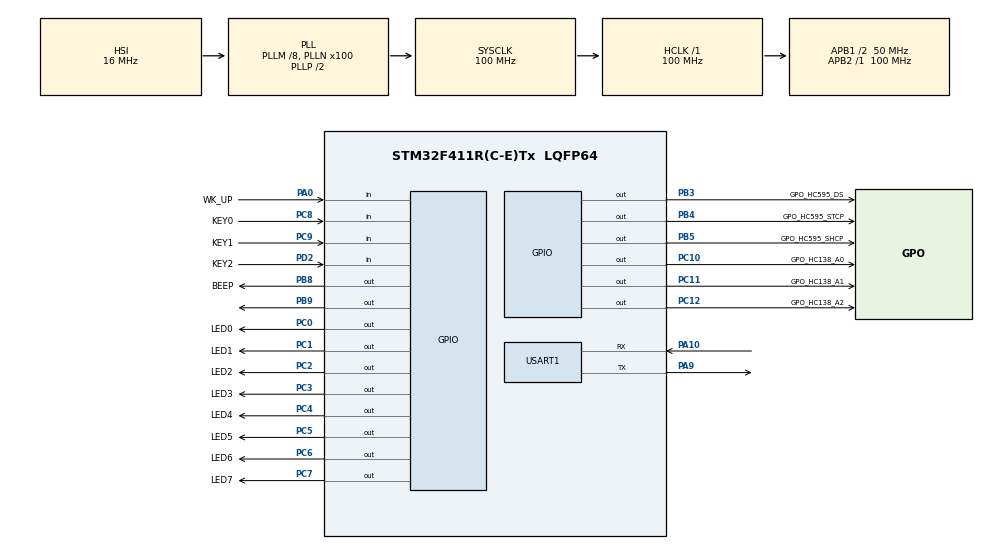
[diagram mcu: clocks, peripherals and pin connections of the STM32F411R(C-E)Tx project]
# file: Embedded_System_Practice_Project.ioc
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Mcu.Family=STM32F4
Mcu.Name=STM32F411R(C-E)Tx
Mcu.Package=LQFP64
NVIC.PriorityGroup=NVIC_PRIORITYGROUP_4
NVIC.TIM2_IRQn=true\:0\:0\:false\:false\:true\:true\:true
NVIC.TIM4_IRQn=true\:0\:0\:false\:false\:true\:true\:true
NVIC.USART1_IRQn=true\:0\:0\:false\:false\:true\:true\:true
PA0-WKUP.GPIO_Label=WK_UP
PA0-WKUP.GPIO_PuPd=GPIO_PULLDOWN
PA0-WKUP.Signal=GPIO_Input
PA10.Mode=Asynchronous
PA10.Signal=USART1_RX
PA13.Signal=SYS_JTMS-SWDIO
PA9.Mode=Asynchronous
PA9.Signal=USART1_TX
PB3.GPIO_Label=GPO_HC595_DS
PB3.PinState=GPIO_PIN_SET
PB3.Signal=GPIO_Output
PB4.GPIO_Label=GPO_HC595_STCP
PB4.PinState=GPIO_PIN_SET
PB4.Signal=GPIO_Output
PB5.GPIO_Label=GPO_HC595_SHCP
PB5.PinState=GPIO_PIN_SET
PB5.Signal=GPIO_Output
PB8.GPIO_Label=BEEP
PB8.PinState=GPIO_PIN_SET
PB8.Signal=GPIO_Output
PB9.Signal=GPIO_Output
PC0.GPIO_Label=LED0
PC0.PinState=GPIO_PIN_SET
PC0.Signal=GPIO_Output
PC1.GPIO_Label=LED1
PC1.PinState=GPIO_PIN_SET
PC1.Signal=GPIO_Output
PC10.GPIO_Label=GPO_HC138_A0
PC10.PinState=GPIO_PIN_SET
PC10.Signal=GPIO_Output
PC11.GPIO_Label=GPO_HC138_A1
PC11.PinState=GPIO_PIN_SET
PC11.Signal=GPIO_Output
PC12.GPIO_Label=GPO_HC138_A2
PC12.PinState=GPIO_PIN_SET
PC12.Signal=GPIO_Output
PC2.GPIO_Label=LED2
PC2.PinState=GPIO_PIN_SET
PC2.Signal=GPIO_Output
PC3.GPIO_Label=LED3
PC3.PinState=GPIO_PIN_SET
PC3.Signal=GPIO_Output
PC4.GPIO_Label=LED4
PC4.PinState=GPIO_PIN_SET
PC4.Signal=GPIO_Output
PC5.GPIO_Label=LED5
PC5.PinState=GPIO_PIN_SET
PC5.Signal=GPIO_Output
PC6.GPIO_Label=LED6
PC6.PinState=GPIO_PIN_SET
PC6.Signal=GPIO_Output
PC7.GPIO_Label=LED7
PC7.PinState=GPIO_PIN_SET
PC7.Signal=GPIO_Output
PC8.GPIO_Label=KEY0
PC8.GPIO_PuPd=GPIO_PULLUP
PC8.Signal=GPIO_Input
PC9.GPIO_Label=KEY1
PC9.GPIO_PuPd=GPIO_PULLUP
PC9.Signal=GPIO_Input
PD2.GPIO_Label=KEY2
PD2.GPIO_PuPd=GPIO_PULLUP
PD2.Signal=GPIO_Input
PH0\ -\ OSC_IN.Mode=HSE-External-Oscillator
PH0\ -\ OSC_IN.Signal=RCC_OSC_IN
PH1\ -\ OSC_OUT.Mode=HSE-External-Oscillator
PH1\ -\ OSC_OUT.Signal=RCC_OSC_OUT
ProjectManager.HeapSize=0x200
ProjectManager.StackSize=0x400
ProjectManager.TargetToolchain=STM32CubeIDE
RCC.48MHZClocksFreq_Value=50000000
RCC.AHBFreq_Value=100000000
RCC.APB1CLKDivider=RCC_HCLK_DIV2
RCC.APB1Freq_Value=50000000
RCC.APB1TimFreq_Value=100000000
RCC.APB2Freq_Value=100000000
RCC.APB2TimFreq_Value=100000000
RCC.CortexFreq_Value=100000000
RCC.HCLKFreq_Value=100000000
RCC.HSE_VALUE=25000000
RCC.HSI_VALUE=16000000
RCC.LSE_VALUE=32768
RCC.PLLM=8
RCC.PLLN=100
RCC.SYSCLKFreq_VALUE=100000000
RCC.SYSCLKSource=RCC_SYSCLKSOURCE_PLLCLK
RCC.VCOOutputFreq_Value=200000000
RTC.Date=17
RTC.Hours=16
RTC.Minutes=14
RTC.Month=RTC_MONTH_DECEMBER
RTC.Seconds=30
RTC.WeekDay=RTC_WEEKDAY_FRIDAY
RTC.Year=21
TIM1.Prescaler=100-1
TIM2.Period=2500-1
TIM2.Prescaler=5000-1
TIM4.Period=5000-1
TIM4.Prescaler=10000-1
USART1.VirtualMode=VM_ASYNC
VP_RTC_VS_RTC_Activate.Mode=RTC_Enabled
VP_RTC_VS_RTC_Calendar.Mode=RTC_Calendar
VP_TIM1_VS_ClockSourceINT.Mode=Internal
VP_TIM2_VS_ClockSourceINT.Mode=Internal
VP_TIM4_VS_ClockSourceINT.Mode=Internal
board=custom

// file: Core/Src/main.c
/* USER CODE BEGIN Header */
/**
  ******************************************************************************
  * @file           : main.c
  * @brief          : Main program body
  ******************************************************************************
  * @attention
  *
  * <h2><center>&copy; Copyright (c) 2021 STMicroelectronics.
  * All rights reserved.</center></h2>
  *
  * This software component is licensed by ST under BSD 3-Clause license,
  * the "License"; You may not use this file except in compliance with the
  * License. You may obtain a copy of the License at:
  *                        opensource.org/licenses/BSD-3-Clause
  *
  ******************************************************************************
  */
/* USER CODE END Header */
#include "main.h"

/* USER CODE BEGIN Includes */
#include "dht11.h"
#include "stdio.h"
#include "math.h"
/* USER CODE END Includes */

RTC_HandleTypeDef hrtc;

TIM_HandleTypeDef htim1;
TIM_HandleTypeDef htim2;
TIM_HandleTypeDef htim4;

UART_HandleTypeDef huart1;

/* USER CODE BEGIN PV */
uint8_t temp;
uint8_t humi;
DHT11_Data_TypeDef DHT11_Data;
RTC_DateTypeDef Nowdate;
RTC_TimeTypeDef Nowtime;
RTC_TimeTypeDef Reset_Nowtime;
RTC_DateTypeDef Reset_Nowdate;
uint8_t Time_Select[3] = {0};
/* USER CODE END PV */

void SystemClock_Config(void);
static void MX_GPIO_Init(void);
static void MX_USART1_UART_Init(void);
static void MX_TIM2_Init(void);
static void MX_TIM4_Init(void);
static void MX_TIM1_Init(void);
static void MX_RTC_Init(void);

/* USER CODE BEGIN 0 */
#define HC138Ax_PORT GPIOC
#define HC138A0_PIN GPIO_PIN_10
#define HC138A1_PIN GPIO_PIN_11
#define HC138A2_PIN GPIO_PIN_12
#define HC595_PORT GPIOB
#define HC595_DATA_PIN GPIO_PIN_3
#define HC595_LCLK_PIN GPIO_PIN_4
#define HC595_SCLK_PIN GPIO_PIN_5
uint32_t DuanMa[] = {
		0x3F,  0x06,  0x5B,  0x4F,  0x66,                 /**< 0 - 9 */
		0x6D,  0x7D,  0x07,  0x7F,  0x6F,
		0x00,  0x40,  0x64,  0x54,  0x74,                 /**< NULL - s n h  */
		0x76,  0x39,  0x70,  0x40,                        //H  C  T  -
};
static uint32_t buf[8] = {                                //缓冲区
		0x00,0x00,0x00,0x00,  //1 ~ 4
		0x00,0x00,0x00,0x00   //5 ~ 8
};
void ShuMaGuan_Enable(uint32_t numb){                     //使能某一个数码管
	uint32_t HC138_PIN_INPUT[8][3] = {
			{0,0,0},{0,0,1},{0,1,0},{0,1,1},
			{1,0,0},{1,0,1},{1,1,0},{1,1,1}
	};

	HAL_GPIO_WritePin(HC138Ax_PORT,HC138A0_PIN,HC138_PIN_INPUT[numb-1][2]);
	HAL_GPIO_WritePin(HC138Ax_PORT,HC138A1_PIN,HC138_PIN_INPUT[numb-1][1]);
	HAL_GPIO_WritePin(HC138Ax_PORT,HC138A2_PIN,HC138_PIN_INPUT[numb-1][0]);
}
void Change_BUFF(uint32_t N_Digital,uint32_t Number){    //更改缓冲区
	buf[N_Digital-1] = DuanMa[Number];
}
void Write_Number_to_ST(uint32_t N_Digital){             //写入数据等待触发
	HAL_GPIO_WritePin(HC595_PORT,HC595_LCLK_PIN,GPIO_PIN_RESET);
	for(int i = 0;i < 8;i ++){
		HAL_GPIO_WritePin(HC595_PORT,HC595_SCLK_PIN,GPIO_PIN_RESET);
		HAL_GPIO_WritePin(HC595_PORT,HC595_DATA_PIN,((buf[N_Digital-1] >> (7 - i)) & 0x01));
		HAL_GPIO_WritePin(HC595_PORT,HC595_SCLK_PIN,GPIO_PIN_SET);
	}
}
void Write_Dot(uint32_t N_Digital){                      //写入小数点
	buf[N_Digital-1] += 0x80;
}
void Lighten_ShuMaGuan(){                                //点亮一个数码管
	HAL_GPIO_WritePin(HC595_PORT,HC595_LCLK_PIN,GPIO_PIN_RESET);
	HAL_GPIO_WritePin(HC595_PORT,HC595_LCLK_PIN,GPIO_PIN_SET);
}
void Write_Buff(uint32_t position,uint32_t len,uint32_t dat){   //
	uint32_t temp = dat;
	for(uint32_t i = position; i < position + len; i++){
		buf[i] = DuanMa[temp % 10];
		temp /= 10;
	}
}
void Display_1(uint32_t N_Digit,uint32_t Number){         //数码管展示一位数据不带小数点
	Change_BUFF(N_Digit, 10);
	Write_Number_to_ST(N_Digit);
	Lighten_ShuMaGuan();
	ShuMaGuan_Enable(N_Digit);
	Change_BUFF(N_Digit, Number);
	Write_Number_to_ST(N_Digit);
	Lighten_ShuMaGuan();
}
void Display_1_Dot(uint32_t N_Digit,uint32_t Number){     //数码管展示一位数据带小数点
	ShuMaGuan_Enable(N_Digit);
	Change_BUFF(N_Digit, Number);
	Write_Dot(N_Digit);
	Write_Number_to_ST(N_Digit);
	Lighten_ShuMaGuan();
}
//void Display_More(uint32_t start,uint32_t end,uint32_t Num){
//	uint32_t data[8] = {0};
//	void Display_1(uint32_t N_Digit,uint32_t Number);
//	void decode(uint32_t number,uint32_t a[8]);
//	decode(21*100000+5*10000+59*10+4,data);
//	for(int i = 5;i <= 7;i ++){
//		Display_1(9-i, data[i-1]);
//		if(i == 6){
//			Display_1_Dot(9-i, data[i-1]);
//		}
//		for(int j = 0;j <= 10000;j++){}
//	}
//	for(int i = 1;i <= 3;i ++){
//		Display_1(9-i, data[i-1]);
//		if(i == 2){
//			Display_1_Dot(9-i, data[i-1]);
//		}
//		for(int j = 0;j <= 10000;j++){}
//	}
//}
void Display_Buff(){                                     //展示缓冲区数据
	for(int N_Digit = 0;N_Digit < 8;N_Digit ++){
		Write_Number_to_ST(N_Digit+1);
		ShuMaGuan_Enable(N_Digit+1);
		Lighten_ShuMaGuan();
		for(int i = 0;i <= 20000;i++){}
		if(N_Digit == 7){

		}
	}
}
//void CorrectDisplay_1(uint32_t N_Digital,uint32_t Number, uint32_t Dot_If){
//	Write_Number_to_ST(10,0);
//	Lighten_ShuMaGuan();
//	ShuMaGuan_Enable(N_Digital);
//	Write_Number_to_ST(Number,Dot_If);
//	Lighten_ShuMaGuan();
//	for(int j = 0;j <= 10000;j++){}
//	//HAL_Delay(1);
//}
//void Shuma_Put_Dot(uint32_t N_Digital){
////	Write_Number_to_ST(10,0);
////	Lighten_ShuMaGuan();
////	ShuMaGuan_Enable(N_Digital);
////	Write_Number_to_ST(10,1);
////	Lighten_ShuMaGuan();
////	HAL_Delay(1);
//
//}

void decode(uint32_t number,uint32_t buf[8]){
	uint32_t yushu = 0;
	for(int i = 0;i < 8;i ++){
		yushu = number % (uint32_t)pow(10,i+1);
		if(i == 0){
			buf[0] = yushu;
		}
		while(((number - yushu) > 0)){
			buf[i+1] = (number % (uint32_t)pow(10,i+2) - yushu)/(uint32_t)pow(10,i+1);
			break;
		}
	}
}
//同时点亮多个数码管函�??
//void Display_More(){
//	uint32_t buf[8] = {0};
//	void CorrectDisplay_1(uint32_t N_Digital,uint32_t Number, uint32_t Dot_If);
//	void decode(uint32_t number,uint32_t a[8]);
//	decode(21*100000+5*10000+59*10+4,buf);
//	for(int i = 5;i <= 7;i ++){
//		if(i == 68){
//			CorrectDisplay_1(9-i, buf[i-1], 1);
//		}else{
//			CorrectDisplay_1(9-i, buf[i-1], 0);
//		}
//	}
//	for(int i = 1;i <= 3;i ++){
//		if(i == 28){
//			CorrectDisplay_1(9-i, buf[i-1], 1);
//		}else{
//			CorrectDisplay_1(9-i, buf[i-1], 0);
//		}
//	}
//}
//void display_8(uint32_t Stu_Number){
//	uint32_t buff[8] = {0};
//	void CorrectDisplay_1(uint32_t N_Digital,uint32_t Number, uint32_t Dot_If);
//	void decode(uint32_t number,uint32_t a[8]);
//	decode(Stu_Number,buff);
//	for(int i = 1;i <= 8;i ++){
//		CorrectDisplay_1(9-i, buff[i-1], 0);
//	}
//}
//void display_Temp(uint8_t temp_int,uint8_t temp_deci){
//	uint8_t buf[8] = {0};
//	void CorrectDisplay_1(uint32_t N_Digital,uint32_t Number, uint32_t Dot_If);
//	void decode(uint32_t number,uint32_t a[8]);
////	decode(temp_int*100000+temp_deci*10000,buf);
//	decode(21003158,buf);
//	for(int i = 4;i <= 6;i ++){
//		CorrectDisplay_1(9-i, buf[i-1], 0);
////		Write_Number_to_ST(10,0);
////		Lighten_ShuMaGuan();
////		ShuMaGuan_Enable(9-i);
////		Write_Number_to_ST(buf[i-1],1);
////		Lighten_ShuMaGuan();
////		HAL_Delay(1);
//	}
//}

//void RTC_SetMy_Time(RTC_HandleTypeDef *hrtc, RTC_TimeTypeDef *nowtime,uint8_t hour,uint8_t min,uint8_t sec,uint8_t ampm)
//{
//	RTC_TimeTypeDef sTime = {0};
//	RTC_DateTypeDef sDate = {0};
//
//	HAL_RTC_SetTime(&hrtc, &nowtime, RTC_FORMAT_BIN);
//	sTime.Hours = hour;
//	sTime.Minutes = min;
//	sTime.Seconds = sec;
//	sTime.TimeFormat=ampm;
//	sTime.DayLightSaving=RTC_DAYLIGHTSAVING_NONE;
//    sTime.StoreOperation=RTC_STOREOPERATION_RESET;
//}

HAL_StatusTypeDef RTC_SetMy_Time(uint8_t hour,uint8_t min,uint8_t sec,uint8_t ampm)
{
	RTC_TimeTypeDef RTC_TimeStructure;

	RTC_TimeStructure.Hours=hour;
	RTC_TimeStructure.Minutes=min;
	RTC_TimeStructure.Seconds=sec;
	RTC_TimeStructure.TimeFormat=ampm;
	RTC_TimeStructure.DayLightSaving=RTC_DAYLIGHTSAVING_NONE;
    RTC_TimeStructure.StoreOperation=RTC_STOREOPERATION_RESET;
    return HAL_RTC_SetTime(&hrtc, &RTC_TimeStructure, RTC_FORMAT_BIN);
}

/* USER CODE END 0 */

int main(void)
{
  /* USER CODE BEGIN 1 */

	int key0 = 0;
	int key1 = 0;
	int key2 = 0;
	int Flag = 0;
	int count = 0;
	int Warning_Delete = 0;
	int Temp_Humi_Flag = 0;
	int Change_Max_Flag = 0;
	int RTC_Clock_Flag = 0;
	int Change_Time_Flag = 0;
	int Select_Number = 0;
	uint8_t Max_Temp_int = 25;
	uint8_t Max_Temp_deci = 0;
	HAL_StatusTypeDef RTC_SetMy_Time(uint8_t hour,uint8_t min,uint8_t sec,uint8_t ampm);
	void ShuMaGuan_Enable(uint32_t numb);
	void Write_Number_to_ST(uint32_t number);
	void Lighten_ShuMaGuan();
	void Write_Buff();
	void Change_BUFF(uint32_t N_Digital,uint32_t Number);
	void Display_1(uint32_t N_Digit,uint32_t Number);
	void Display_More(uint32_t start,uint32_t end,uint32_t Num);
	void Display_Buff();

  /* USER CODE END 1 */

  /* MCU Configuration--------------------------------------------------------*/

  /* Reset of all peripherals, Initializes the Flash interface and the Systick. */
  HAL_Init();

  /* Configure the system clock */
  SystemClock_Config();

  /* Initialize all configured peripherals */
  MX_GPIO_Init();
  MX_USART1_UART_Init();
  MX_TIM2_Init();
  MX_TIM4_Init();
  MX_TIM1_Init();
  MX_RTC_Init();
  /* Infinite loop */
  /* USER CODE BEGIN WHILE */
  //HAL_TIM_Base_Start_IT(&htim2);
  //HAL_TIM_Base_Start_IT(&htim4);
  //HAL_UART_Receive_IT(&huart1, &temp, 2);
  //HAL_UART_Receive_IT(&huart1, &humi, 2);
  while(1)
  {
	HAL_RTC_GetTime(&hrtc, &Nowtime, RTC_FORMAT_BIN);
	HAL_RTC_GetDate(&hrtc, &Nowdate, RTC_FORMAT_BIN);
	Warning_Delete = 0;
	Display_Buff();
	if(!Flag){     //Flag = 0 时不断展示学号
		RTC_Clock_Flag = 0;
		Temp_Humi_Flag = 0;
		Write_Buff(0, 8, 85130012);
	}
	if(HAL_GPIO_ReadPin(GPIOC, GPIO_PIN_9) == GPIO_PIN_RESET){
		HAL_Delay(20);
		if(HAL_GPIO_ReadPin(GPIOC, GPIO_PIN_9) == GPIO_PIN_RESET){
			Flag = 1;       //按键key1控制学号显示结束
			key1 ++;
			for(uint32_t j = 0;j < 8;j ++){
				buf[j] = DuanMa[10];
			}
			while(HAL_GPIO_ReadPin(GPIOC, GPIO_PIN_9) == GPIO_PIN_RESET){
				count ++;     //count 变量用来判断长按还是短按
				for(uint32_t j = 0;j < 8;j ++){
					buf[j] = DuanMa[10];
					Change_BUFF(j+1, 18);
					Display_Buff();
					HAL_Delay(1);
				}
			}
			HAL_Delay(20);
		}
	}else if(HAL_GPIO_ReadPin(GPIOD, GPIO_PIN_2) == GPIO_PIN_RESET){
			HAL_Delay(20);
			if(HAL_GPIO_ReadPin(GPIOD, GPIO_PIN_2) == GPIO_PIN_RESET){
			key2 ++;
			for(uint32_t j = 0;j < 8;j ++){
				buf[j] = DuanMa[10];
			}
			while(HAL_GPIO_ReadPin(GPIOD, GPIO_PIN_2) == GPIO_PIN_RESET){
				for(uint32_t j = 0;j < 8;j ++){
					buf[j] = DuanMa[10];
					Change_BUFF(j+1, 18);
					Display_Buff();
					HAL_Delay(1);
				}
			}
			HAL_Delay(20);
		}
	}
	if(key1 > 0){
		if(count > 5){
			RTC_Clock_Flag = 1;       //时钟显示模式标识
			count = 0;
		}else{
			Temp_Humi_Flag = 1;       //温湿度传感报警模式标识
		}
	}

	//Temperature and Humidity Sensor While
	while(Temp_Humi_Flag){
		//Dispaly and Waring Mode
		if(DHT11_ReadData(&DHT11_Data)){
			printf("Temp:%d.%d   Humi:%d.%d   Temp_Warning:%d.%d\r\n",DHT11_Data.temp_int,
					DHT11_Data.temp_deci,DHT11_Data.humi_int,DHT11_Data.humi_deci,Max_Temp_int,Max_Temp_deci);
			for(uint32_t j = 0;j < 8;j ++){
				buf[j] = DuanMa[10];
			}
			Write_Buff(1, 3, (DHT11_Data.temp_deci*100 + (DHT11_Data.temp_int % 10)*10 + (DHT11_Data.temp_int-(DHT11_Data.temp_int % 10))/10));
			Write_Buff(5, 3, (DHT11_Data.humi_deci*100 + (DHT11_Data.humi_int % 10)*10 + (DHT11_Data.humi_int-(DHT11_Data.humi_int % 10))/10));
			Write_Dot(3);
			Write_Dot(7);
		}
		Change_BUFF(1, 16);
		Change_BUFF(5, 15);
		Display_Buff();
		//Change Max Mode Code
		while(Change_Max_Flag){
			//Debug With UART
			if(HAL_GPIO_ReadPin(GPIOC, GPIO_PIN_8) == GPIO_PIN_RESET){
				HAL_Delay(20);
				if(HAL_GPIO_ReadPin(GPIOC,GPIO_PIN_8) == GPIO_PIN_RESET){
					if(Max_Temp_deci == 0){
						Max_Temp_deci = 9;
						Max_Temp_int --;
					}else{
						Max_Temp_deci --;
					}
					while(HAL_GPIO_ReadPin(GPIOC,GPIO_PIN_8) == GPIO_PIN_RESET){
						for(uint32_t j = 0;j < 8;j ++){
							buf[j] = DuanMa[10];
							Display_Buff();
							HAL_Delay(1);
						}
					}
					HAL_Delay(20);
				}
			}
			if(HAL_GPIO_ReadPin(GPIOD,GPIO_PIN_2) == GPIO_PIN_RESET){
				HAL_Delay(20);
				if(HAL_GPIO_ReadPin(GPIOD,GPIO_PIN_2) == GPIO_PIN_RESET){
					if(Max_Temp_deci == 9){
						Max_Temp_deci = 0;
						Max_Temp_int ++;
					}else{
						Max_Temp_deci ++;
					}
					while(HAL_GPIO_ReadPin(GPIOD,GPIO_PIN_2) == GPIO_PIN_RESET){
						for(uint32_t j = 0;j < 8;j ++){
							buf[j] = DuanMa[10];
							Display_Buff();
						}
					}
					HAL_Delay(20);
				}
			}
			//Display Now Max_Temperature
			for(uint32_t j = 0;j < 8;j ++){
				buf[j] = DuanMa[10];
			}
			Write_Buff(5,8,(Max_Temp_deci*100 + (Max_Temp_int % 10)*10 + (Max_Temp_int -(Max_Temp_int % 10))/10));
			Change_BUFF(4, 15);
			Change_BUFF(5, 16);
			Write_Dot(7);
			Display_Buff();
			//Return To "Display Temperature Humidity"
			if(HAL_GPIO_ReadPin(GPIOA, GPIO_PIN_0) != GPIO_PIN_RESET){
				 HAL_Delay(20);
				 if(HAL_GPIO_ReadPin(GPIOA, GPIO_PIN_0) != GPIO_PIN_RESET){
					Flag = 1;
					Change_Max_Flag = 0;
					while(HAL_GPIO_ReadPin(GPIOA, GPIO_PIN_0) != GPIO_PIN_RESET){
						for(uint32_t j = 0;j < 8;j ++){
							Change_BUFF(j+1, 18);
							Display_Buff();
							HAL_Delay(1);
						}
					}
					HAL_Delay(20);
					break;
				 }
			}
		}
		//High Temperature Warning and Delete
		if(((DHT11_Data.temp_int >= Max_Temp_int)&(DHT11_Data.temp_deci >= Max_Temp_deci))&(!Warning_Delete)){
			HAL_GPIO_WritePin(GPIOB, GPIO_PIN_8, GPIO_PIN_RESET);
			if(HAL_GPIO_ReadPin(GPIOA, GPIO_PIN_0) != GPIO_PIN_RESET){
				 HAL_Delay(20);
				 if(HAL_GPIO_ReadPin(GPIOA, GPIO_PIN_0) != GPIO_PIN_RESET){
					 Warning_Delete = 1;
					 while(HAL_GPIO_ReadPin(GPIOA, GPIO_PIN_0) != GPIO_PIN_RESET){
							for(uint32_t j = 0;j < 8;j ++){
								Change_BUFF(j+1, 18);
								Display_Buff();
								HAL_Delay(1);
							}
					 }
					 HAL_Delay(20);
				 }
			}
		}else if(((DHT11_Data.temp_int)*10+(DHT11_Data.temp_deci) < (Max_Temp_int*10+Max_Temp_deci))|(Warning_Delete)){
			HAL_GPIO_WritePin(GPIOB, GPIO_PIN_8, GPIO_PIN_SET);
		}
		//Key0: Go To Change Mode
		if(HAL_GPIO_ReadPin(GPIOC, GPIO_PIN_9) == GPIO_PIN_RESET){
			HAL_Delay(20);
			if(HAL_GPIO_ReadPin(GPIOC, GPIO_PIN_9) == GPIO_PIN_RESET){
				Change_Max_Flag = 1;
				while(HAL_GPIO_ReadPin(GPIOC, GPIO_PIN_9) == GPIO_PIN_RESET){
					for(uint32_t j = 0;j < 8;j ++){
						Change_BUFF(j+1, 18);
						Display_Buff();
						HAL_Delay(1);
					}
				}
				HAL_Delay(20);
			}
		}
		//WK-Up:Clear
		if(HAL_GPIO_ReadPin(GPIOA, GPIO_PIN_0) != GPIO_PIN_RESET){
			 HAL_Delay(20);
			 if(HAL_GPIO_ReadPin(GPIOA, GPIO_PIN_0) != GPIO_PIN_RESET){
				 Temp_Humi_Flag = 0;
				 Flag = 0;
				 key1 = 0;
				 break;
			 }
		}
	}
	//RTC Clock While
	while(RTC_Clock_Flag){
		HAL_RTC_GetTime(&hrtc, &Nowtime, RTC_FORMAT_BIN);
		HAL_RTC_GetDate(&hrtc, &Nowdate, RTC_FORMAT_BIN);
		Time_Select[0] = Nowtime.Hours;
		Time_Select[1] = Nowtime.Minutes;
		Time_Select[2] = Nowtime.Seconds;
		//Change Time Mode Code
		while(Change_Time_Flag){
			if(HAL_GPIO_ReadPin(GPIOC, GPIO_PIN_9) == GPIO_PIN_RESET){
				HAL_Delay(20);
				if(HAL_GPIO_ReadPin(GPIOC,GPIO_PIN_9) == GPIO_PIN_RESET){
					Select_Number ++;
					Select_Number %= 3;
					while(HAL_GPIO_ReadPin(GPIOC,GPIO_PIN_9) == GPIO_PIN_RESET){
						switch(Select_Number){
						case 0:
							for(uint32_t j = 3;j < 8;j ++){
								Change_BUFF(j+1, 18);
								Display_Buff();
								HAL_Delay(1);
							}break;
						case 1:
							for(uint32_t j = 0;j < 2;j ++){
								Change_BUFF(j+1, 18);
								Change_BUFF(j+7, 18);
								Display_Buff();
								HAL_Delay(1);
							}break;
						case 2:
							for(uint32_t j = 0;j < 5;j ++){
								Change_BUFF(j+1, 18);
								Display_Buff();
								HAL_Delay(1);
							}break;
						}
					}
					HAL_Delay(20);
				}
			}
			for(int i = 0;i < 3;i ++){
				if(Select_Number == i){
					if(HAL_GPIO_ReadPin(GPIOC, GPIO_PIN_8) == GPIO_PIN_RESET){
						HAL_Delay(20);
						if(HAL_GPIO_ReadPin(GPIOC,GPIO_PIN_8) == GPIO_PIN_RESET){
							if(i == 0){
								if(Time_Select[i] == 0){
									Time_Select[i] = 23;
								}else{
									Time_Select[i] --;
								}
							}else{
								if(Time_Select[i] == 0){
									Time_Select[i] = 59;
								}else{
									Time_Select[i] --;
								}
							}
							while(HAL_GPIO_ReadPin(GPIOC,GPIO_PIN_8) == GPIO_PIN_RESET){
								for(uint32_t j = 3*i;j < 3*i+2;j ++){
									buf[j] = DuanMa[10];
									Change_BUFF(j+1, 10);
									Display_Buff();
									HAL_Delay(1);
								}
							}
							HAL_Delay(20);
						}
					}
					if(HAL_GPIO_ReadPin(GPIOD,GPIO_PIN_2) == GPIO_PIN_RESET){
						HAL_Delay(20);
						if(HAL_GPIO_ReadPin(GPIOD,GPIO_PIN_2) == GPIO_PIN_RESET){
							if(i == 0){
								if(Time_Select[i] == 23){
									Time_Select[i] = 0;
								}else{
									Time_Select[i] ++;
								}
							}else{
								if(Time_Select[i] == 59){
									Time_Select[i] = 0;
								}else{
									Time_Select[i] ++;
								}
							}
							while(HAL_GPIO_ReadPin(GPIOD,GPIO_PIN_2) == GPIO_PIN_RESET){
								for(uint32_t j = 3*i;j < 3*i+2;j ++){
									buf[j] = DuanMa[10];
									Change_BUFF(j+1, 10);
									Display_Buff();
									HAL_Delay(1);
								}
							}
							HAL_Delay(20);
						}
					}
				}
			}

			//Display Now time
			for(uint32_t j = 0;j < 8;j ++){
				buf[j] = DuanMa[10];
			}
			for(int i = 0;i < 3;i ++){
				Write_Buff(3*i, 3*i+2, (Time_Select[i] % 10)*10 + (Time_Select[i] -(Time_Select[i] % 10))/10);
			}
			Change_BUFF(3, 18);
			Change_BUFF(6, 18);
			Display_Buff();
			//Return To "Display RTC"
			if(HAL_GPIO_ReadPin(GPIOA, GPIO_PIN_0) != GPIO_PIN_RESET){
				 HAL_Delay(20);
				 if(HAL_GPIO_ReadPin(GPIOA, GPIO_PIN_0) != GPIO_PIN_RESET){
					Flag = 1;
					Change_Time_Flag = 0;
					RTC_SetMy_Time(Time_Select[0],Time_Select[1],Time_Select[2],RTC_FORMAT_BIN);
					while(HAL_GPIO_ReadPin(GPIOA, GPIO_PIN_0) != GPIO_PIN_RESET){
						for(uint32_t j = 0;j < 8;j ++){
							buf[j] = DuanMa[10];
							Change_BUFF(j+1, 18);
							Display_Buff();
							HAL_Delay(1);
						}
					}
					HAL_Delay(20);
					break;
				 }
			}
		}
		Write_Buff(0, 2, (Nowtime.Hours % 10)*10 + (Nowtime.Hours -(Nowtime.Hours % 10))/10);
		Write_Buff(3, 5, (Nowtime.Minutes % 10)*10 + (Nowtime.Minutes -(Nowtime.Minutes % 10))/10);
		Write_Buff(6, 8, (Nowtime.Seconds % 10)*10 + (Nowtime.Seconds -(Nowtime.Seconds % 10))/10);
		Change_BUFF(3, 18);
		Change_BUFF(6, 18);
		Display_Buff();
		//Key0: Go To Change Mode
		if(HAL_GPIO_ReadPin(GPIOC, GPIO_PIN_9) == GPIO_PIN_RESET){
			HAL_Delay(20);
			if(HAL_GPIO_ReadPin(GPIOC, GPIO_PIN_9) == GPIO_PIN_RESET){
				Change_Time_Flag = 1;
				while(HAL_GPIO_ReadPin(GPIOC, GPIO_PIN_9) == GPIO_PIN_RESET){
					for(uint32_t j = 0;j < 8;j ++){
						buf[j] = DuanMa[10];
						Change_BUFF(j+1, 18);
						Display_Buff();
						HAL_Delay(1);
					}
				}
				HAL_Delay(20);
			}
		}
		//WK-Up:Clear
		if(HAL_GPIO_ReadPin(GPIOA, GPIO_PIN_0) != GPIO_PIN_RESET){
			 HAL_Delay(20);
			 if(HAL_GPIO_ReadPin(GPIOA, GPIO_PIN_0) != GPIO_PIN_RESET){
				 RTC_Clock_Flag = 0;
				 Flag = 0;
				 key1 = 0;
				 break;
			 }
		}
	}
    /* USER CODE END WHILE */
  }
}

void SystemClock_Config(void)
{
  RCC_OscInitTypeDef RCC_OscInitStruct = {0};
  RCC_ClkInitTypeDef RCC_ClkInitStruct = {0};

  /** Configure the main internal regulator output voltage
  */
  __HAL_RCC_PWR_CLK_ENABLE();
  __HAL_PWR_VOLTAGESCALING_CONFIG(PWR_REGULATOR_VOLTAGE_SCALE1);
  /** Initializes the RCC Oscillators according to the specified parameters
  * in the RCC_OscInitTypeDef structure.
  */
  RCC_OscInitStruct.OscillatorType = RCC_OSCILLATORTYPE_HSI|RCC_OSCILLATORTYPE_LSI;
  RCC_OscInitStruct.HSIState = RCC_HSI_ON;
  RCC_OscInitStruct.HSICalibrationValue = RCC_HSICALIBRATION_DEFAULT;
  RCC_OscInitStruct.LSIState = RCC_LSI_ON;
  RCC_OscInitStruct.PLL.PLLState = RCC_PLL_ON;
  RCC_OscInitStruct.PLL.PLLSource = RCC_PLLSOURCE_HSI;
  RCC_OscInitStruct.PLL.PLLM = 8;
  RCC_OscInitStruct.PLL.PLLN = 100;
  RCC_OscInitStruct.PLL.PLLP = RCC_PLLP_DIV2;
  RCC_OscInitStruct.PLL.PLLQ = 4;
  if (HAL_RCC_OscConfig(&RCC_OscInitStruct) != HAL_OK)
  {
    Error_Handler();
  }
  /** Initializes the CPU, AHB and APB buses clocks
  */
  RCC_ClkInitStruct.ClockType = RCC_CLOCKTYPE_HCLK|RCC_CLOCKTYPE_SYSCLK
                              |RCC_CLOCKTYPE_PCLK1|RCC_CLOCKTYPE_PCLK2;
  RCC_ClkInitStruct.SYSCLKSource = RCC_SYSCLKSOURCE_PLLCLK;
  RCC_ClkInitStruct.AHBCLKDivider = RCC_SYSCLK_DIV1;
  RCC_ClkInitStruct.APB1CLKDivider = RCC_HCLK_DIV2;
  RCC_ClkInitStruct.APB2CLKDivider = RCC_HCLK_DIV1;

  if (HAL_RCC_ClockConfig(&RCC_ClkInitStruct, FLASH_LATENCY_3) != HAL_OK)
  {
    Error_Handler();
  }
}

static void MX_RTC_Init(void)
{

  RTC_TimeTypeDef sTime = {0};
  RTC_DateTypeDef sDate = {0};

  /** Initialize RTC Only
  */
  hrtc.Instance = RTC;
  hrtc.Init.HourFormat = RTC_HOURFORMAT_24;
  hrtc.Init.AsynchPrediv = 127;
  hrtc.Init.SynchPrediv = 255;
  hrtc.Init.OutPut = RTC_OUTPUT_DISABLE;
  hrtc.Init.OutPutPolarity = RTC_OUTPUT_POLARITY_HIGH;
  hrtc.Init.OutPutType = RTC_OUTPUT_TYPE_OPENDRAIN;
  if (HAL_RTC_Init(&hrtc) != HAL_OK)
  {
    Error_Handler();
  }

  /** Initialize RTC and set the Time and Date
  */
  sTime.Hours = 0x16;
  sTime.Minutes = 0x36;
  sTime.Seconds = 0x30;
  sTime.DayLightSaving = RTC_DAYLIGHTSAVING_NONE;
  sTime.StoreOperation = RTC_STOREOPERATION_RESET;
  if (HAL_RTC_SetTime(&hrtc, &sTime, RTC_FORMAT_BCD) != HAL_OK)
  {
    Error_Handler();
  }
  sDate.WeekDay = RTC_WEEKDAY_FRIDAY;
  sDate.Month = RTC_MONTH_DECEMBER;
  sDate.Date = 0x17;
  sDate.Year = 0x21;

  if (HAL_RTC_SetDate(&hrtc, &sDate, RTC_FORMAT_BCD) != HAL_OK)
  {
    Error_Handler();
  }

}

static void MX_TIM1_Init(void)
{

  TIM_ClockConfigTypeDef sClockSourceConfig = {0};
  TIM_MasterConfigTypeDef sMasterConfig = {0};

  htim1.Instance = TIM1;
  htim1.Init.Prescaler = 100-1;
  htim1.Init.CounterMode = TIM_COUNTERMODE_UP;
  htim1.Init.Period = 65535;
  htim1.Init.ClockDivision = TIM_CLOCKDIVISION_DIV1;
  htim1.Init.RepetitionCounter = 0;
  htim1.Init.AutoReloadPreload = TIM_AUTORELOAD_PRELOAD_DISABLE;
  if (HAL_TIM_Base_Init(&htim1) != HAL_OK)
  {
    Error_Handler();
  }
  sClockSourceConfig.ClockSource = TIM_CLOCKSOURCE_INTERNAL;
  if (HAL_TIM_ConfigClockSource(&htim1, &sClockSourceConfig) != HAL_OK)
  {
    Error_Handler();
  }
  sMasterConfig.MasterOutputTrigger = TIM_TRGO_RESET;
  sMasterConfig.MasterSlaveMode = TIM_MASTERSLAVEMODE_DISABLE;
  if (HAL_TIMEx_MasterConfigSynchronization(&htim1, &sMasterConfig) != HAL_OK)
  {
    Error_Handler();
  }

}

static void MX_TIM2_Init(void)
{

  TIM_ClockConfigTypeDef sClockSourceConfig = {0};
  TIM_MasterConfigTypeDef sMasterConfig = {0};

  htim2.Instance = TIM2;
  htim2.Init.Prescaler = 10000-1;
  htim2.Init.CounterMode = TIM_COUNTERMODE_UP;
  htim2.Init.Period = 5000-1;
  htim2.Init.ClockDivision = TIM_CLOCKDIVISION_DIV1;
  htim2.Init.AutoReloadPreload = TIM_AUTORELOAD_PRELOAD_DISABLE;
  if (HAL_TIM_Base_Init(&htim2) != HAL_OK)
  {
    Error_Handler();
  }
  sClockSourceConfig.ClockSource = TIM_CLOCKSOURCE_INTERNAL;
  if (HAL_TIM_ConfigClockSource(&htim2, &sClockSourceConfig) != HAL_OK)
  {
    Error_Handler();
  }
  sMasterConfig.MasterOutputTrigger = TIM_TRGO_RESET;
  sMasterConfig.MasterSlaveMode = TIM_MASTERSLAVEMODE_DISABLE;
  if (HAL_TIMEx_MasterConfigSynchronization(&htim2, &sMasterConfig) != HAL_OK)
  {
    Error_Handler();
  }

}

static void MX_TIM4_Init(void)
{

  TIM_ClockConfigTypeDef sClockSourceConfig = {0};
  TIM_MasterConfigTypeDef sMasterConfig = {0};

  htim4.Instance = TIM4;
  htim4.Init.Prescaler = 10000-1;
  htim4.Init.CounterMode = TIM_COUNTERMODE_UP;
  htim4.Init.Period = 10000-1;
  htim4.Init.ClockDivision = TIM_CLOCKDIVISION_DIV1;
  htim4.Init.AutoReloadPreload = TIM_AUTORELOAD_PRELOAD_DISABLE;
  if (HAL_TIM_Base_Init(&htim4) != HAL_OK)
  {
    Error_Handler();
  }
  sClockSourceConfig.ClockSource = TIM_CLOCKSOURCE_INTERNAL;
  if (HAL_TIM_ConfigClockSource(&htim4, &sClockSourceConfig) != HAL_OK)
  {
    Error_Handler();
  }
  sMasterConfig.MasterOutputTrigger = TIM_TRGO_RESET;
  sMasterConfig.MasterSlaveMode = TIM_MASTERSLAVEMODE_DISABLE;
  if (HAL_TIMEx_MasterConfigSynchronization(&htim4, &sMasterConfig) != HAL_OK)
  {
    Error_Handler();
  }

}

static void MX_USART1_UART_Init(void)
{

  huart1.Instance = USART1;
  huart1.Init.BaudRate = 115200;
  huart1.Init.WordLength = UART_WORDLENGTH_8B;
  huart1.Init.StopBits = UART_STOPBITS_1;
  huart1.Init.Parity = UART_PARITY_NONE;
  huart1.Init.Mode = UART_MODE_TX_RX;
  huart1.Init.HwFlowCtl = UART_HWCONTROL_NONE;
  huart1.Init.OverSampling = UART_OVERSAMPLING_16;
  if (HAL_UART_Init(&huart1) != HAL_OK)
  {
    Error_Handler();
  }

}

static void MX_GPIO_Init(void)
{
  GPIO_InitTypeDef GPIO_InitStruct = {0};

  /* GPIO Ports Clock Enable */
  __HAL_RCC_GPIOH_CLK_ENABLE();
  __HAL_RCC_GPIOC_CLK_ENABLE();
  __HAL_RCC_GPIOA_CLK_ENABLE();
  __HAL_RCC_GPIOD_CLK_ENABLE();
  __HAL_RCC_GPIOB_CLK_ENABLE();

  /*Configure GPIO pin Output Level */
  HAL_GPIO_WritePin(GPIOC, LED0_Pin|LED1_Pin|LED2_Pin|LED3_Pin
                          |LED4_Pin|LED5_Pin|LED6_Pin|LED7_Pin
                          |GPO_HC138_A0_Pin|GPO_HC138_A1_Pin|GPO_HC138_A2_Pin, GPIO_PIN_SET);

  /*Configure GPIO pin Output Level */
  HAL_GPIO_WritePin(GPIOB, GPO_HC595_DS_Pin|GPO_HC595_STCP_Pin|GPO_HC595_SHCP_Pin|BEEP_Pin, GPIO_PIN_SET);

  /*Configure GPIO pin Output Level */
  HAL_GPIO_WritePin(GPIOB, GPIO_PIN_9, GPIO_PIN_RESET);

  /*Configure GPIO pins : LED0_Pin LED1_Pin LED2_Pin LED3_Pin
                           LED4_Pin LED5_Pin LED6_Pin LED7_Pin
                           GPO_HC138_A0_Pin GPO_HC138_A1_Pin GPO_HC138_A2_Pin */
  GPIO_InitStruct.Pin = LED0_Pin|LED1_Pin|LED2_Pin|LED3_Pin
                          |LED4_Pin|LED5_Pin|LED6_Pin|LED7_Pin
                          |GPO_HC138_A0_Pin|GPO_HC138_A1_Pin|GPO_HC138_A2_Pin;
  GPIO_InitStruct.Mode = GPIO_MODE_OUTPUT_PP;
  GPIO_InitStruct.Pull = GPIO_NOPULL;
  GPIO_InitStruct.Speed = GPIO_SPEED_FREQ_LOW;
  HAL_GPIO_Init(GPIOC, &GPIO_InitStruct);

  /*Configure GPIO pin : WK_UP_Pin */
  GPIO_InitStruct.Pin = WK_UP_Pin;
  GPIO_InitStruct.Mode = GPIO_MODE_INPUT;
  GPIO_InitStruct.Pull = GPIO_PULLDOWN;
  HAL_GPIO_Init(WK_UP_GPIO_Port, &GPIO_InitStruct);

  /*Configure GPIO pins : KEY0_Pin KEY1_Pin */
  GPIO_InitStruct.Pin = KEY0_Pin|KEY1_Pin;
  GPIO_InitStruct.Mode = GPIO_MODE_INPUT;
  GPIO_InitStruct.Pull = GPIO_PULLUP;
  HAL_GPIO_Init(GPIOC, &GPIO_InitStruct);

  /*Configure GPIO pin : KEY2_Pin */
  GPIO_InitStruct.Pin = KEY2_Pin;
  GPIO_InitStruct.Mode = GPIO_MODE_INPUT;
  GPIO_InitStruct.Pull = GPIO_PULLUP;
  HAL_GPIO_Init(KEY2_GPIO_Port, &GPIO_InitStruct);

  /*Configure GPIO pins : GPO_HC595_DS_Pin GPO_HC595_STCP_Pin GPO_HC595_SHCP_Pin BEEP_Pin
                           PB9 */
  GPIO_InitStruct.Pin = GPO_HC595_DS_Pin|GPO_HC595_STCP_Pin|GPO_HC595_SHCP_Pin|BEEP_Pin
                          |GPIO_PIN_9;
  GPIO_InitStruct.Mode = GPIO_MODE_OUTPUT_PP;
  GPIO_InitStruct.Pull = GPIO_NOPULL;
  GPIO_InitStruct.Speed = GPIO_SPEED_FREQ_LOW;
  HAL_GPIO_Init(GPIOB, &GPIO_InitStruct);

}

/* USER CODE BEGIN 4 */
__attribute__((weak)) int _write(int file, char *ptr, int len){
	if(HAL_UART_Transmit(&huart1,ptr,len,0xffff) != HAL_OK){
		Error_Handler();
	}
}
//定时器Tim2展示程序正在运行
void HAL_TIM_PeriodElapsedCallback(TIM_HandleTypeDef *htim){
	if (htim->Instance == TIM2){
		static uint8_t status = 0;
		GPIOC->ODR = ~(0x01<<status);
		//HAL_GPIO_TogglePin(GPIOC, (0x01<<status));
		status ++;
		status %= 8;

	}
	if(htim->Instance == TIM4){
		printf("Now Time :%d-%d-%d  %d:%d:%d \r\n",Nowdate.Year,Nowdate.Month,Nowdate.Date,Nowtime.Hours,Nowtime.Minutes,Nowtime.Seconds);
	}
}

/* USER CODE END 4 */

void Error_Handler(void)
{
  __disable_irq();
  while (1)
  {
  }
}

/************************ (C) COPYRIGHT STMicroelectronics *****END OF FILE****/
